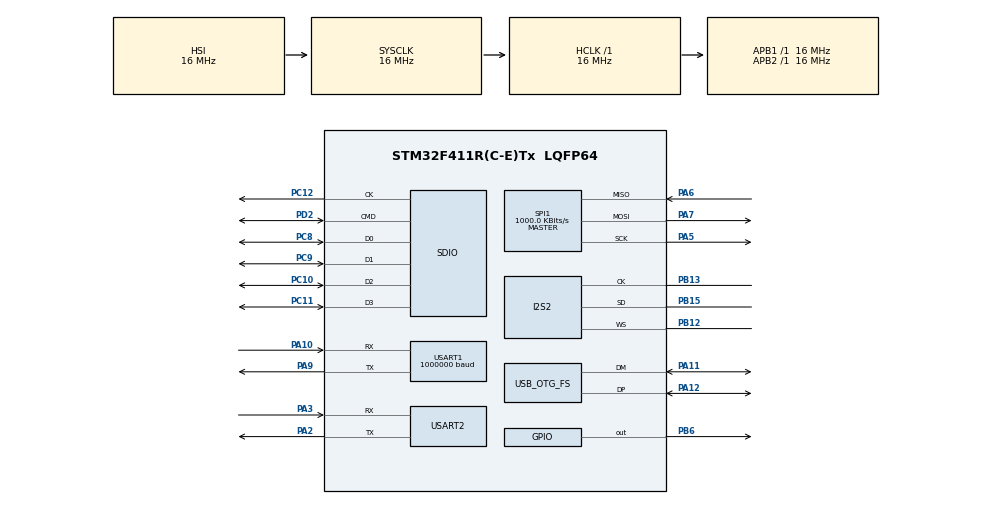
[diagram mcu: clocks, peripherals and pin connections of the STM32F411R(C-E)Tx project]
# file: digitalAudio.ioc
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Dma.Request0=SPI2_RX
Dma.Request1=SDIO_RX
Dma.Request2=SDIO_TX
Dma.SDIO_RX.1.Direction=DMA_PERIPH_TO_MEMORY
Dma.SDIO_RX.1.FIFOMode=DMA_FIFOMODE_ENABLE
Dma.SDIO_RX.1.FIFOThreshold=DMA_FIFO_THRESHOLD_FULL
Dma.SDIO_RX.1.Instance=DMA2_Stream3
Dma.SDIO_RX.1.MemBurst=DMA_MBURST_INC4
Dma.SDIO_RX.1.MemDataAlignment=DMA_MDATAALIGN_WORD
Dma.SDIO_RX.1.MemInc=DMA_MINC_ENABLE
Dma.SDIO_RX.1.Mode=DMA_PFCTRL
Dma.SDIO_RX.1.PeriphBurst=DMA_PBURST_INC4
Dma.SDIO_RX.1.PeriphDataAlignment=DMA_PDATAALIGN_WORD
Dma.SDIO_RX.1.PeriphInc=DMA_PINC_DISABLE
Dma.SDIO_RX.1.Priority=DMA_PRIORITY_HIGH
Dma.SDIO_TX.2.Direction=DMA_MEMORY_TO_PERIPH
Dma.SDIO_TX.2.FIFOMode=DMA_FIFOMODE_ENABLE
Dma.SDIO_TX.2.FIFOThreshold=DMA_FIFO_THRESHOLD_FULL
Dma.SDIO_TX.2.Instance=DMA2_Stream6
Dma.SDIO_TX.2.MemBurst=DMA_MBURST_INC4
Dma.SDIO_TX.2.MemDataAlignment=DMA_MDATAALIGN_WORD
Dma.SDIO_TX.2.MemInc=DMA_MINC_ENABLE
Dma.SDIO_TX.2.Mode=DMA_PFCTRL
Dma.SDIO_TX.2.PeriphBurst=DMA_PBURST_INC4
Dma.SDIO_TX.2.PeriphDataAlignment=DMA_PDATAALIGN_WORD
Dma.SDIO_TX.2.PeriphInc=DMA_PINC_DISABLE
Dma.SDIO_TX.2.Priority=DMA_PRIORITY_HIGH
Dma.SPI2_RX.0.Direction=DMA_PERIPH_TO_MEMORY
Dma.SPI2_RX.0.FIFOMode=DMA_FIFOMODE_DISABLE
Dma.SPI2_RX.0.Instance=DMA1_Stream3
Dma.SPI2_RX.0.MemDataAlignment=DMA_MDATAALIGN_HALFWORD
Dma.SPI2_RX.0.MemInc=DMA_MINC_ENABLE
Dma.SPI2_RX.0.Mode=DMA_CIRCULAR
Dma.SPI2_RX.0.PeriphDataAlignment=DMA_PDATAALIGN_HALFWORD
Dma.SPI2_RX.0.PeriphInc=DMA_PINC_DISABLE
Dma.SPI2_RX.0.Priority=DMA_PRIORITY_LOW
FATFS._FS_EXFAT=1
FATFS._USE_LFN=2
FREERTOS.Queues01=audioQueue,36,uint8_t,0,Dynamic,NULL,NULL
FREERTOS.Tasks01=defaultTask,24,128,StartDefaultTask,Default,NULL,Dynamic,NULL,NULL;AudioTask,40,2048,Audio,Default,NULL,Dynamic,NULL,NULL;UiTask,24,512,Ui,Default,NULL,Dynamic,NULL,NULL;NtpTask,24,512,Ntp,Default,NULL,Dynamic,NULL,NULL
I2S2.AudioFreq=I2S_AUDIOFREQ_16K
I2S2.ErrorAudioFreq=-0.26 %
I2S2.FullDuplexMode=I2S_FULLDUPLEXMODE_DISABLE
I2S2.Instance=SPI$Index
I2S2.Mode=I2S_MODE_MASTER_RX
I2S2.RealAudioFreq=15.957 KHz
I2S2.VirtualMode=I2S_MODE_MASTER
Mcu.Family=STM32F4
Mcu.Name=STM32F411R(C-E)Tx
Mcu.Package=LQFP64
NVIC.DMA1_Stream3_IRQn=true\:5\:0\:false\:false\:true\:true\:false\:true\:true
NVIC.DMA2_Stream3_IRQn=true\:5\:0\:false\:false\:true\:true\:false\:true\:true
NVIC.DMA2_Stream6_IRQn=true\:5\:0\:false\:false\:true\:true\:false\:true\:true
NVIC.OTG_FS_IRQn=true\:5\:0\:false\:false\:true\:true\:false\:true\:true
NVIC.PriorityGroup=NVIC_PRIORITYGROUP_4
NVIC.SDIO_IRQn=true\:5\:0\:false\:false\:true\:true\:true\:true\:true
NVIC.SPI2_IRQn=true\:5\:0\:false\:false\:true\:true\:true\:true\:true
NVIC.USART1_IRQn=true\:5\:0\:false\:false\:true\:true\:true\:true\:true
NVIC.USART2_IRQn=true\:5\:0\:false\:false\:true\:true\:true\:true\:true
PA10.Mode=Asynchronous
PA10.Signal=USART1_RX
PA11.Mode=Device_Only
PA11.Signal=USB_OTG_FS_DM
PA12.Mode=Device_Only
PA12.Signal=USB_OTG_FS_DP
PA2.Mode=Asynchronous
PA2.Signal=USART2_TX
PA3.Mode=Asynchronous
PA3.Signal=USART2_RX
PA5.Mode=Full_Duplex_Master
PA5.Signal=SPI1_SCK
PA6.Mode=Full_Duplex_Master
PA6.Signal=SPI1_MISO
PA7.Mode=Full_Duplex_Master
PA7.Signal=SPI1_MOSI
PA9.Mode=Asynchronous
PA9.Signal=USART1_TX
PB12.GPIO_Speed=GPIO_SPEED_FREQ_VERY_HIGH
PB12.Mode=Half_Duplex_Master
PB12.Signal=I2S2_WS
PB13.GPIO_Speed=GPIO_SPEED_FREQ_VERY_HIGH
PB13.Mode=Half_Duplex_Master
PB13.Signal=I2S2_CK
PB15.GPIO_Speed=GPIO_SPEED_FREQ_VERY_HIGH
PB15.Mode=Half_Duplex_Master
PB15.Signal=I2S2_SD
PB6.Signal=GPIO_Output
PC10.GPIO_PuPd=GPIO_PULLUP
PC10.Mode=SD_4_bits_Wide_bus
PC10.Signal=SDIO_D2
PC11.GPIO_PuPd=GPIO_PULLUP
PC11.Mode=SD_4_bits_Wide_bus
PC11.Signal=SDIO_D3
PC12.GPIO_PuPd=GPIO_PULLUP
PC12.Mode=SD_4_bits_Wide_bus
PC12.Signal=SDIO_CK
PC8.GPIO_PuPd=GPIO_PULLUP
PC8.Mode=SD_4_bits_Wide_bus
PC8.Signal=SDIO_D0
PC9.GPIO_PuPd=GPIO_PULLUP
PC9.Mode=SD_4_bits_Wide_bus
PC9.Signal=SDIO_D1
PD2.GPIO_PuPd=GPIO_PULLUP
PD2.Mode=SD_4_bits_Wide_bus
PD2.Signal=SDIO_CMD
ProjectManager.HeapSize=0x200
ProjectManager.StackSize=0x400
ProjectManager.TargetToolchain=STM32CubeIDE
RCC.AHBFreq_Value=16000000
RCC.APB1Freq_Value=16000000
RCC.APB2Freq_Value=16000000
RCC.CortexFreq_Value=16000000
RCC.HSE_VALUE=25000000
RCC.HSI_VALUE=16000000
RCC.LSE_VALUE=32768
RCC.PLLSource=RCC_PLLSOURCE_HSI
RCC.PLLSourceVirtualString=RCC_PLLSOURCE_HSI
RCC.SYSCLKFreq_VALUE=16000000
RCC.VCOOutputFreq_Value=192000000
SDIO.ClockDiv=48
SDIO.HardwareFlowControl=SDIO_HARDWARE_FLOW_CONTROL_ENABLE
SPI1.BaudRatePrescaler=SPI_BAUDRATEPRESCALER_16
SPI1.CalculateBaudRate=1000.0 KBits/s
SPI1.Direction=SPI_DIRECTION_2LINES
SPI1.Mode=SPI_MODE_MASTER
SPI1.VirtualType=VM_MASTER
USART1.BaudRate=1000000
USART1.VirtualMode=VM_ASYNC
USART2.VirtualMode=VM_ASYNC
USB_DEVICE.CLASS_NAME_FS=MSC
USB_DEVICE.VirtualMode=Msc
USB_DEVICE.VirtualModeFS=Msc_FS
USB_OTG_FS.VirtualMode=Device_Only
VP_FATFS_VS_SDIO.Mode=SDIO
VP_FREERTOS_VS_CMSIS_V2.Mode=CMSIS_V2
VP_RTC_VS_RTC_Activate.Mode=RTC_Enabled
VP_RTC_VS_RTC_Calendar.Mode=RTC_Calendar
VP_USB_DEVICE_VS_USB_DEVICE_MSC_FS.Mode=MSC_FS
board=custom

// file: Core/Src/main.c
/* USER CODE BEGIN Header */
/**
  ******************************************************************************
  * @file           : main.c
  * @brief          : Main program body
  ******************************************************************************
  * @attention
  *
  * Copyright (c) 2025 STMicroelectronics.
  * All rights reserved.
  *
  * This software is licensed under terms that can be found in the LICENSE file
  * in the root directory of this software component.
  * If no LICENSE file comes with this software, it is provided AS-IS.
  *
  ******************************************************************************
  */
/* USER CODE END Header */
#include "main.h"
#include "cmsis_os.h"
#include "dma.h"
#include "fatfs.h"
#include "i2s.h"
#include "rtc.h"
#include "sdio.h"
#include "spi.h"
#include "usart.h"
#include "usb_device.h"
#include "gpio.h"

/* USER CODE BEGIN Includes */
#include "timeService.h"
#include "audio_recorder.h"
#include "test.h"
#include <string.h>
/* USER CODE END Includes */

void SystemClock_Config(void);
void MX_FREERTOS_Init(void);
/* USER CODE BEGIN PFP */
void EspNtpTask(void *argument);
void RtcUpdateTask(void *argument);
/* USER CODE END PFP */

/* USER CODE BEGIN 0 */
#include <stdio.h>

extern UART_HandleTypeDef huart2;

int _write(int file, char *ptr, int len)
{
  HAL_StatusTypeDef hstatus;
  hstatus = HAL_UART_Transmit(&huart2, (uint8_t*)ptr, len, HAL_MAX_DELAY);
  if (hstatus == HAL_OK) return len;
  else return -1;
}
/* USER CODE END 0 */

int main(void)
{

  /* MCU Configuration--------------------------------------------------------*/

  /* Reset of all peripherals, Initializes the Flash interface and the Systick. */
  HAL_Init();

  /* Configure the system clock */
  SystemClock_Config();

  /* Initialize all configured peripherals */
  MX_GPIO_Init();
  MX_DMA_Init();
  MX_I2S2_Init();
  MX_RTC_Init();
  MX_SPI1_Init();
  MX_USART1_UART_Init();
  MX_FATFS_Init();
  MX_USART2_UART_Init();
  MX_SDIO_SD_Init();
  /* USER CODE BEGIN 2 */
  printf("\r\n[SYSTEM] Booting Digital Audio Recorder (RTOS Mode)...\r\n");
  /* USER CODE END 2 */

  /* Init scheduler */
  osKernelInitialize();  /* Call init function for freertos objects (in cmsis_os2.c) */
  MX_FREERTOS_Init();

  /* Start scheduler */
  osKernelStart();

  /* We should never get here as control is now taken by the scheduler */

  /* Infinite loop */
  while (1)
  {

  }
}

void SystemClock_Config(void)
{
  RCC_OscInitTypeDef RCC_OscInitStruct = {0};
  RCC_ClkInitTypeDef RCC_ClkInitStruct = {0};

  /** Configure the main internal regulator output voltage
  */
  __HAL_RCC_PWR_CLK_ENABLE();
  __HAL_PWR_VOLTAGESCALING_CONFIG(PWR_REGULATOR_VOLTAGE_SCALE1);

  /** Initializes the RCC Oscillators according to the specified parameters
  * in the RCC_OscInitTypeDef structure.
  */
  RCC_OscInitStruct.OscillatorType = RCC_OSCILLATORTYPE_HSI|RCC_OSCILLATORTYPE_LSI;
  RCC_OscInitStruct.HSIState = RCC_HSI_ON;
  RCC_OscInitStruct.HSICalibrationValue = RCC_HSICALIBRATION_DEFAULT;
  RCC_OscInitStruct.LSIState = RCC_LSI_ON;
  RCC_OscInitStruct.PLL.PLLState = RCC_PLL_ON;
  RCC_OscInitStruct.PLL.PLLSource = RCC_PLLSOURCE_HSI;
  RCC_OscInitStruct.PLL.PLLM = 16;
  RCC_OscInitStruct.PLL.PLLN = 192;
  RCC_OscInitStruct.PLL.PLLP = RCC_PLLP_DIV2;
  RCC_OscInitStruct.PLL.PLLQ = 4;
  if (HAL_RCC_OscConfig(&RCC_OscInitStruct) != HAL_OK)
  {
    Error_Handler();
  }

  /** Initializes the CPU, AHB and APB buses clocks
  */
  RCC_ClkInitStruct.ClockType = RCC_CLOCKTYPE_HCLK|RCC_CLOCKTYPE_SYSCLK
                              |RCC_CLOCKTYPE_PCLK1|RCC_CLOCKTYPE_PCLK2;
  RCC_ClkInitStruct.SYSCLKSource = RCC_SYSCLKSOURCE_HSI;
  RCC_ClkInitStruct.AHBCLKDivider = RCC_SYSCLK_DIV1;
  RCC_ClkInitStruct.APB1CLKDivider = RCC_HCLK_DIV1;
  RCC_ClkInitStruct.APB2CLKDivider = RCC_HCLK_DIV1;

  if (HAL_RCC_ClockConfig(&RCC_ClkInitStruct, FLASH_LATENCY_0) != HAL_OK)
  {
    Error_Handler();
  }
}

/* USER CODE BEGIN 4 */

// I2S DMA 수신 절반 완료 콜백
 void HAL_I2S_RxHalfCpltCallback(I2S_HandleTypeDef *hi2s)
{
	 // 만약 I2S2를 사용 중이라면 Instance == SPI2 입니다.
	if(hi2s->Instance == SPI2) {
		Audio_I2S_HalfCpltCallback();
	}
}

// I2S DMA 수신 전체 완료 콜백
void HAL_I2S_RxCpltCallback(I2S_HandleTypeDef *hi2s)
{
	if(hi2s->Instance == SPI2)
		Audio_I2S_CpltCallback();
}
/* USER CODE END 4 */

void Error_Handler(void)
{
  __disable_irq();
  while (1)
  {
  }
}

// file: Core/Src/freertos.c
/* USER CODE BEGIN Header */
/**
  ******************************************************************************
  * File Name          : freertos.c
  * Description        : Code for freertos applications
  ******************************************************************************
  */
/* USER CODE END Header */

#include "FreeRTOS.h"
#include "task.h"
#include "main.h"
#include "cmsis_os.h"

/* USER CODE BEGIN Includes */
// 우리가 만든 태스크 헤더 포함
#include "task_audio.h"
#include "task_network.h"
/* USER CODE END Includes */

/* Definitions for defaultTask */
osThreadId_t defaultTaskHandle;
const osThreadAttr_t defaultTask_attributes = {
  .name = "defaultTask",
  .stack_size = 128 * 4,
  .priority = (osPriority_t) osPriorityNormal,
};
/* Definitions for AudioTask */
osThreadId_t AudioTaskHandle;
const osThreadAttr_t AudioTask_attributes = {
  .name = "AudioTask",
  .stack_size = 2048 * 4,
  .priority = (osPriority_t) osPriorityHigh,
};
/* Definitions for UiTask */
osThreadId_t UiTaskHandle;
const osThreadAttr_t UiTask_attributes = {
  .name = "UiTask",
  .stack_size = 512 * 4,
  .priority = (osPriority_t) osPriorityNormal,
};
/* Definitions for NtpTask */
osThreadId_t NtpTaskHandle;
const osThreadAttr_t NtpTask_attributes = {
  .name = "NtpTask",
  .stack_size = 512 * 4,
  .priority = (osPriority_t) osPriorityNormal,
};
/* Definitions for audioQueue */
osMessageQueueId_t audioQueueHandle;
const osMessageQueueAttr_t audioQueue_attributes = {
  .name = "audioQueue"
};

void StartDefaultTask(void *argument);
void Audio(void *argument);
void Ui(void *argument);
void Ntp(void *argument);

extern void MX_USB_DEVICE_Init(void);
void MX_FREERTOS_Init(void); /* (MISRA C 2004 rule 8.1) */

void MX_FREERTOS_Init(void) {

  /* Create the queue(s) */
  /* creation of audioQueue */
  audioQueueHandle = osMessageQueueNew (16, sizeof(AudioCommand_t), &audioQueue_attributes);

  /* Create the thread(s) */
  /* creation of defaultTask */
  defaultTaskHandle = osThreadNew(StartDefaultTask, NULL, &defaultTask_attributes);

  /* creation of AudioTask */
  AudioTaskHandle = osThreadNew(Audio, NULL, &AudioTask_attributes);

  /* creation of UiTask */
  UiTaskHandle = osThreadNew(Ui, NULL, &UiTask_attributes);

  /* creation of NtpTask */
  NtpTaskHandle = osThreadNew(Ntp, NULL, &NtpTask_attributes);

}

void StartDefaultTask(void *argument)
{
  /* init code for USB_DEVICE */
  MX_USB_DEVICE_Init();
  /* USER CODE BEGIN StartDefaultTask */
  for(;;)
  {
    osDelay(1000); // 시스템 생존 확인용 (Heartbeat)
  }
  /* USER CODE END StartDefaultTask */
}

void Audio(void *argument)
{
  /* USER CODE BEGIN Audio */
  // 실제 로직은 App/task_audio.c에 있음
  AudioTask(argument);
  /* USER CODE END Audio */
}

void Ui(void *argument)
{
  /* USER CODE BEGIN Ui */
  // 실제 로직은 App/task_ui.c에 있음
  // UiTask(argument);
  osThreadExit();
  /* USER CODE END Ui */
}

void Ntp(void *argument)
{
  /* USER CODE BEGIN Ntp */
  // 실제 로직은 App/task_network.c에 있음
  EspNtpTask(argument);
  /* USER CODE END Ntp */
}
